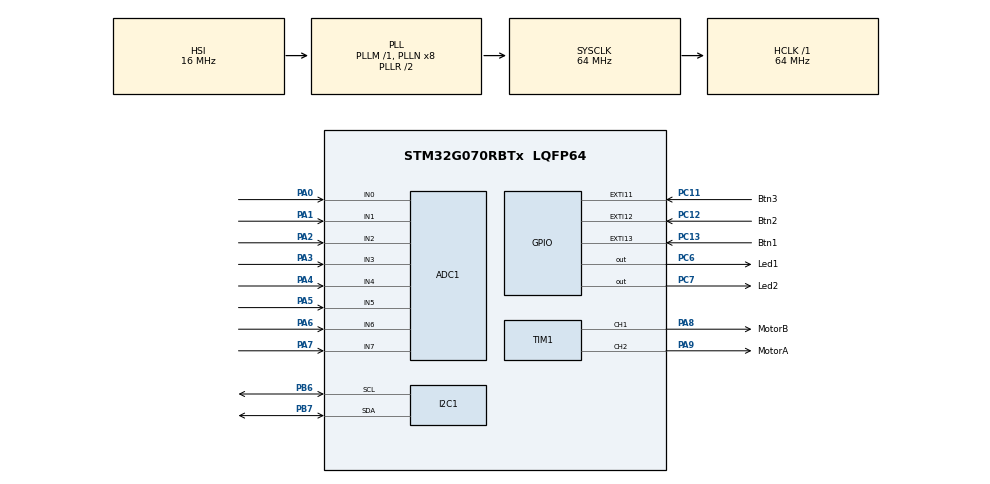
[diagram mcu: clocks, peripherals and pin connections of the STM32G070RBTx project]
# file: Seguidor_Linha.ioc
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ADC1.Channel-0\#ChannelRegularConversion=ADC_CHANNEL_0
ADC1.ContinuousConvMode=ENABLE
ADC1.NbrOfConversionFlag=1
ADC1.Overrun=ADC_OVR_DATA_OVERWRITTEN
ADC1.OversamplingMode=ENABLE
ADC1.Rank-0\#ChannelRegularConversion=1
ADC1.Ratio=ADC_OVERSAMPLING_RATIO_4
ADC1.SamplingTime-0\#ChannelRegularConversion=ADC_SAMPLINGTIME_COMMON_1
ADC1.SelectedChannel=ADC_CHANNEL_0|ADC_CHANNEL_1|ADC_CHANNEL_2|ADC_CHANNEL_3|ADC_CHANNEL_4|ADC_CHANNEL_5|ADC_CHANNEL_6|ADC_CHANNEL_7
ADC1.master=1
Dma.ADC1.0.Direction=DMA_PERIPH_TO_MEMORY
Dma.ADC1.0.EventEnable=ENABLE
Dma.ADC1.0.Instance=DMA1_Channel1
Dma.ADC1.0.MemDataAlignment=DMA_MDATAALIGN_HALFWORD
Dma.ADC1.0.MemInc=DMA_MINC_ENABLE
Dma.ADC1.0.Mode=DMA_CIRCULAR
Dma.ADC1.0.PeriphDataAlignment=DMA_PDATAALIGN_HALFWORD
Dma.ADC1.0.PeriphInc=DMA_PINC_DISABLE
Dma.ADC1.0.Polarity=HAL_DMAMUX_REQ_GEN_RISING
Dma.ADC1.0.Priority=DMA_PRIORITY_LOW
Dma.ADC1.0.RequestNumber=1
Dma.ADC1.0.SignalID=NONE
Dma.ADC1.0.SyncEnable=ENABLE
Dma.ADC1.0.SyncPolarity=HAL_DMAMUX_SYNC_RISING
Dma.ADC1.0.SyncRequestNumber=1
Dma.ADC1.0.SyncSignalID=HAL_DMAMUX1_SYNC_EXTI11
Dma.Request0=ADC1
I2C1.Timing=0x10B17DB5
Mcu.Family=STM32G0
Mcu.Name=STM32G070RBTx
Mcu.Package=LQFP64
NVIC.DMA1_Ch4_7_DMAMUX1_OVR_IRQn=true\:0\:0\:false\:false\:true\:false\:true\:true
NVIC.DMA1_Channel1_IRQn=true\:0\:0\:false\:false\:true\:false\:true\:true
NVIC.EXTI4_15_IRQn=true\:0\:0\:false\:false\:true\:true\:true\:true
PA0.Mode=IN0
PA0.Signal=ADC1_IN0
PA1.Mode=IN1
PA1.Signal=ADC1_IN1
PA13.Mode=Serial_Wire
PA13.Signal=SYS_SWDIO
PA14-BOOT0.Mode=Serial_Wire
PA14-BOOT0.Signal=SYS_SWCLK
PA2.Mode=IN2
PA2.Signal=ADC1_IN2
PA3.Mode=IN3
PA3.Signal=ADC1_IN3
PA4.Mode=IN4
PA4.Signal=ADC1_IN4
PA5.Mode=IN5
PA5.Signal=ADC1_IN5
PA6.Mode=IN6
PA6.Signal=ADC1_IN6
PA7.Mode=IN7
PA7.Signal=ADC1_IN7
PA8.GPIO_Label=MotorB
PA8.Signal=S_TIM1_CH1
PA9.GPIO_Label=MotorA
PA9.Signal=S_TIM1_CH2
PB6.Mode=I2C
PB6.Signal=I2C1_SCL
PB7.Mode=I2C
PB7.Signal=I2C1_SDA
PC11.GPIO_Label=Btn3
PC11.GPIO_PuPd=GPIO_NOPULL
PC11.Signal=GPXTI11
PC12.GPIO_Label=Btn2
PC12.Signal=GPXTI12
PC13.GPIO_Label=Btn1
PC13.Signal=GPXTI13
PC14-OSC32_IN\ (PC14).Mode=LSE-External-Oscillator
PC14-OSC32_IN\ (PC14).Signal=RCC_OSC32_IN
PC15-OSC32_OUT\ (PC15).Mode=LSE-External-Oscillator
PC15-OSC32_OUT\ (PC15).Signal=RCC_OSC32_OUT
PC6.GPIO_Label=Led1
PC6.Signal=GPIO_Output
PC7.GPIO_Label=Led2
PC7.Signal=GPIO_Output
PF0-OSC_IN\ (PF0).Mode=HSE-External-Oscillator
PF0-OSC_IN\ (PF0).Signal=RCC_OSC_IN
PF1-OSC_OUT\ (PF1).Mode=HSE-External-Oscillator
PF1-OSC_OUT\ (PF1).Signal=RCC_OSC_OUT
ProjectManager.HeapSize=0x200
ProjectManager.StackSize=0x400
ProjectManager.TargetToolchain=STM32CubeIDE
RCC.ADCFreq_Value=64000000
RCC.AHBFreq_Value=64000000
RCC.CortexFreq_Value=64000000
RCC.EXTERNAL_CLOCK_VALUE=48000
RCC.HCLKFreq_Value=64000000
RCC.HSE_VALUE=8000000
RCC.HSI_VALUE=16000000
RCC.SYSCLKFreq_VALUE=64000000
RCC.SYSCLKSource=RCC_SYSCLKSOURCE_PLLCLK
RCC.VCOOutputFreq_Value=128000000
SH.S_TIM1_CH1.0=TIM1_CH1,PWM Generation1 CH1
SH.S_TIM1_CH2.0=TIM1_CH2,PWM Generation2 CH2
TIM1.Channel-PWM\ Generation1\ CH1=TIM_CHANNEL_1
TIM1.Channel-PWM\ Generation2\ CH2=TIM_CHANNEL_2
TIM1.OCFastMode_PWM-PWM\ Generation1\ CH1=TIM_OCFAST_DISABLE
TIM1.OCFastMode_PWM-PWM\ Generation2\ CH2=TIM_OCFAST_DISABLE
VP_TIM1_VS_ClockSourceINT.Mode=Internal
board=custom

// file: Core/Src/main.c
/* USER CODE BEGIN Header */
/**
  ******************************************************************************
  * @file           : main.c
  * @brief          : Main program body
  ******************************************************************************
  * @attention
  *
  * Copyright (c) 2026 STMicroelectronics.
  * All rights reserved.
  *
  * This software is licensed under terms that can be found in the LICENSE file
  * in the root directory of this software component.
  * If no LICENSE file comes with this software, it is provided AS-IS.
  *
  ******************************************************************************
  */
/* USER CODE END Header */
#include "main.h"
#include "adc.h"
#include "dma.h"
#include "i2c.h"
#include "tim.h"
#include "gpio.h"

/* USER CODE BEGIN Includes */
#include <stdbool.h>
/* USER CODE END Includes */

/* USER CODE BEGIN PTD */

typedef struct {
    float kp, ki, kd;
    float ErroAnterior;
    float Integral;
} PIDController;

typedef struct{

	bool Prep;
	bool Sinc;
	bool Run;

}SemaphoreState;

typedef enum {

    State_Ready,
	State_Sync,
	State_Go,

} StateMachin;

/* USER CODE END PTD */

/* USER CODE BEGIN PM */
#define PID_INTEGRAL_MAX 200.0f
#define LOOP_MS 2
/* USER CODE END PM */

/* USER CODE BEGIN PV */
uint32_t Leituras[8];
uint8_t  SensorAtivo[8];

const int pesos[8] = {-100, -50, -35, -25, 25, 35, 50, 100};
uint16_t LimiarSensor = 2800;

float posicaoLinha = 0.0f;      // posição atual (-100 a +100)
float VELOCIDADE_BASE = 300.0f; // ajuste conforme o ARR do TIM1
float velocidadeEsq, velocidadeDir;

PIDController ControlPID;
SemaphoreState Memorys;
StateMachin Actions;

/* USER CODE END PV */

void SystemClock_Config(void);
/* USER CODE BEGIN PFP */

void atualizarEstado(SemaphoreState *semaforo, StateMachin estadoAtual);

void pid_init(PIDController *pid, float kp, float ki, float kd);

void Leitura();
float pid_calcula(PIDController *pid, float setpoint, float atual, float dt);
void AcionarMotores(float correcao);
/* USER CODE END PFP */

/* USER CODE BEGIN 0 */
void HAL_GPIO_EXTI_Rising_Callback(uint16_t GPIO_Pin){

	if(GPIO_Pin == Btn1_Pin){

		Memorys.Prep=false;
		Memorys.Sinc=false;
		Memorys.Run =false;

		HAL_GPIO_WritePin(MotorA_GPIO_Port, MotorA_Pin, GPIO_PIN_RESET);
		HAL_GPIO_WritePin(MotorB_GPIO_Port, MotorB_Pin, GPIO_PIN_RESET);

		HAL_GPIO_TogglePin(Led1_GPIO_Port, Led1_Pin);
		HAL_Delay(15);
		Memorys.Prep=true;
		Memorys.Sinc=false;
		Memorys.Run =false;

	}

	if((GPIO_Pin == Btn3_Pin && Memorys.Prep == true) ){

		Memorys.Sinc=false;
		Memorys.Run =false;

		HAL_GPIO_WritePin(MotorA_GPIO_Port, MotorA_Pin, GPIO_PIN_SET);
		HAL_Delay(15);
		HAL_GPIO_WritePin(MotorA_GPIO_Port, MotorA_Pin, GPIO_PIN_RESET);
		HAL_Delay(15);
		HAL_GPIO_WritePin(MotorB_GPIO_Port, MotorB_Pin, GPIO_PIN_SET);
		HAL_Delay(15);
		HAL_GPIO_WritePin(MotorA_GPIO_Port, MotorA_Pin, GPIO_PIN_RESET);
		HAL_GPIO_TogglePin(Led1_GPIO_Port, Led1_Pin);
		HAL_Delay(15);

		Memorys.Sinc= true;
		Memorys.Run =false;

	}

	if((GPIO_Pin == Btn2_Pin && Memorys.Prep == true && Memorys.Sinc == true)){

		Memorys.Run =false;

		HAL_GPIO_TogglePin(Led1_GPIO_Port, Led1_Pin);
		HAL_Delay(15);

		Memorys.Run = true;

	}

}

/* USER CODE END 0 */

int main(void)
{

  /* MCU Configuration--------------------------------------------------------*/

  /* Reset of all peripherals, Initializes the Flash interface and the Systick. */
  HAL_Init();

  /* Configure the system clock */
  SystemClock_Config();

  /* Initialize all configured peripherals */
  MX_GPIO_Init();
  MX_DMA_Init();
  MX_ADC1_Init();
  MX_TIM1_Init();
  MX_I2C1_Init();
  /* USER CODE BEGIN 2 */

  HAL_ADCEx_Calibration_Start(&hadc1);
  HAL_ADC_Start_DMA(&hadc1, Leituras, 8);

  HAL_TIMEx_PWMN_Start(&htim1, TIM_CHANNEL_1);
  HAL_TIMEx_PWMN_Start(&htim1, TIM_CHANNEL_2);

  pid_init(&ControlPID, 2.5f, 0.0f, 0.5f);
  uint32_t tempo_anterior = HAL_GetTick();

  /* USER CODE END 2 */

  /* Infinite loop */
  /* USER CODE BEGIN WHILE */
  while (1)
  {
	  uint32_t tempo_atual = HAL_GetTick();

	     if (tempo_atual - tempo_anterior >= LOOP_MS)
	     {
	         float dt = (tempo_atual - tempo_anterior) / 1000.0f;
	         tempo_anterior = tempo_atual;

	         Leitura();
	         float correcao = pid_calcula(&ControlPID, 0.0f, posicaoLinha, dt);
	         AcionarMotores(correcao);
	     }

    /* USER CODE END WHILE */

  }
}

void SystemClock_Config(void)
{
  RCC_OscInitTypeDef RCC_OscInitStruct = {0};
  RCC_ClkInitTypeDef RCC_ClkInitStruct = {0};

  /** Configure the main internal regulator output voltage
  */
  HAL_PWREx_ControlVoltageScaling(PWR_REGULATOR_VOLTAGE_SCALE1);

  /** Initializes the RCC Oscillators according to the specified parameters
  * in the RCC_OscInitTypeDef structure.
  */
  RCC_OscInitStruct.OscillatorType = RCC_OSCILLATORTYPE_HSI;
  RCC_OscInitStruct.HSIState = RCC_HSI_ON;
  RCC_OscInitStruct.HSIDiv = RCC_HSI_DIV1;
  RCC_OscInitStruct.HSICalibrationValue = RCC_HSICALIBRATION_DEFAULT;
  RCC_OscInitStruct.PLL.PLLState = RCC_PLL_ON;
  RCC_OscInitStruct.PLL.PLLSource = RCC_PLLSOURCE_HSI;
  RCC_OscInitStruct.PLL.PLLM = RCC_PLLM_DIV1;
  RCC_OscInitStruct.PLL.PLLN = 8;
  RCC_OscInitStruct.PLL.PLLP = RCC_PLLP_DIV2;
  RCC_OscInitStruct.PLL.PLLR = RCC_PLLR_DIV2;
  if (HAL_RCC_OscConfig(&RCC_OscInitStruct) != HAL_OK)
  {
    Error_Handler();
  }

  /** Initializes the CPU, AHB and APB buses clocks
  */
  RCC_ClkInitStruct.ClockType = RCC_CLOCKTYPE_HCLK|RCC_CLOCKTYPE_SYSCLK
                              |RCC_CLOCKTYPE_PCLK1;
  RCC_ClkInitStruct.SYSCLKSource = RCC_SYSCLKSOURCE_PLLCLK;
  RCC_ClkInitStruct.AHBCLKDivider = RCC_SYSCLK_DIV1;
  RCC_ClkInitStruct.APB1CLKDivider = RCC_HCLK_DIV1;

  if (HAL_RCC_ClockConfig(&RCC_ClkInitStruct, FLASH_LATENCY_2) != HAL_OK)
  {
    Error_Handler();
  }
}

/* USER CODE BEGIN 4 */

void atualizarEstado(SemaphoreState *semaforo, StateMachin estadoAtual) {
    switch (estadoAtual) {
        case State_Ready:
            semaforo->Prep = true;
            semaforo->Sinc = false;
            semaforo->Run  = false;
            break;

        case State_Sync:
            semaforo->Prep = false;
            semaforo->Sinc = true;
            semaforo->Run  = false;
            break;

        case State_Go:
            semaforo->Prep = false;
            semaforo->Sinc = false;
            semaforo->Run  = true;
            break;
    }
}

void pid_init(PIDController *pid, float kp, float ki, float kd)
{
    pid->kp = kp;
    pid->ki = ki;
    pid->kd = kd;
    pid->ErroAnterior = 0.0f;
    pid->Integral = 0.0f;
}

void Leitura(void)
{
    int soma = 0;
    int ativos = 0;

    for (int i = 0; i < 8; i++)
    {
        SensorAtivo[i] = (Leituras[i] < LimiarSensor) ? 1 : 0;
        if (SensorAtivo[i])
        {
            soma += pesos[i];
            ativos++;
        }
    }

    // Média ponderada; se perdeu a linha, mantém a última posição
    if (ativos > 0)
        posicaoLinha = (float)soma / ativos;
}

float pid_calcula(PIDController *pid, float setpoint, float atual, float dt)
{
    if (dt <= 0.0f) dt = 0.001f;

    float erro = setpoint - atual;

    pid->Integral += erro * dt;
    if (pid->Integral >  PID_INTEGRAL_MAX) pid->Integral =  PID_INTEGRAL_MAX;
    if (pid->Integral < -PID_INTEGRAL_MAX) pid->Integral = -PID_INTEGRAL_MAX;

    float derivativo = (erro - pid->ErroAnterior) / dt;
    pid->ErroAnterior = erro;

    return (pid->kp * erro) + (pid->ki * pid->Integral) + (pid->kd * derivativo);
}

void AcionarMotores(float correcao)
{
    float max = (float)__HAL_TIM_GET_AUTORELOAD(&htim1);

    // erro negativo = linha à direita -> esquerda acelera, direita desacelera
    velocidadeEsq = VELOCIDADE_BASE - correcao;
    velocidadeDir = VELOCIDADE_BASE + correcao;

    if (velocidadeEsq < 0) velocidadeEsq = 0;
    if (velocidadeEsq > max) velocidadeEsq = max;
    if (velocidadeDir < 0) velocidadeDir = 0;
    if (velocidadeDir > max) velocidadeDir = max;

    __HAL_TIM_SET_COMPARE(&htim1, TIM_CHANNEL_1, (uint32_t)velocidadeEsq);
    __HAL_TIM_SET_COMPARE(&htim1, TIM_CHANNEL_2, (uint32_t)velocidadeDir);
}

/* USER CODE END 4 */

void Error_Handler(void)
{
  __disable_irq();
  while (1)
  {
  }
}
